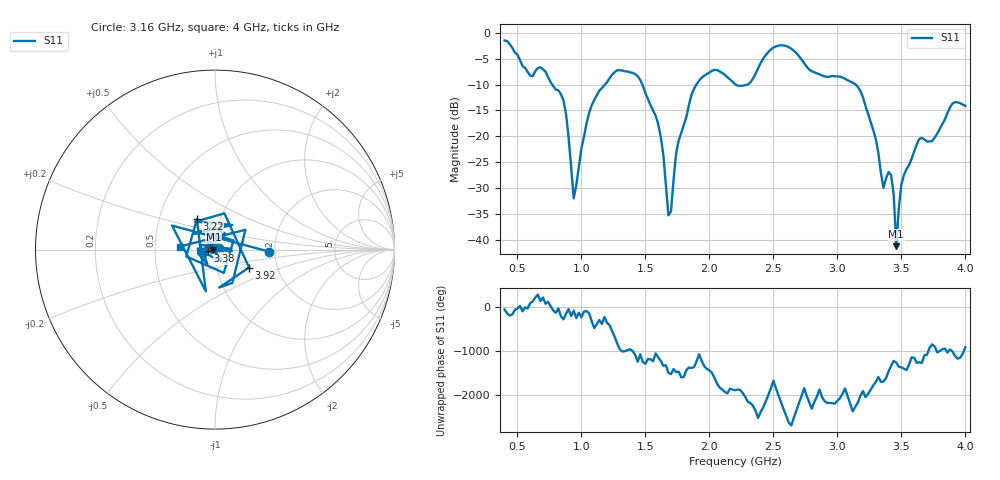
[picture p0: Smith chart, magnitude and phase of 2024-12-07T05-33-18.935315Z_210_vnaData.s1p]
!Created with skrf (http://scikit-rf.org).
# Hz S RI R 50.0
!freq ReS11 ImS11
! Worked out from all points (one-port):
!   181 points, 400 MHz to 4 GHz, reference 50 ohm
!   lowest |S11| = -41.3 dB at 3.46 GHz (marker M1), VSWR 1.02, Z = 49.1 - j0.0751 ohm
!   |S11| at or under -10 dB: 772.3 MHz to 1.183 GHz (410.9 MHz wide, 42 % of centre); 1.476 GHz to 1.898 GHz (421.9 MHz wide, 25 % of centre); 3.143 GHz to end of sweep (the widest 3 of 4)
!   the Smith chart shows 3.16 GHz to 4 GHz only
!   S11 on the Smith chart (normalised r, x): 3.16 GHz: 1.86, -0.04; 3.22 GHz: 0.77, +0.27; 3.38 GHz: 0.93, -0.02; 3.92 GHz: 1.43, -0.30; 4 GHz: 0.67, +0.02
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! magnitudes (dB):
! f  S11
! 400 MHz  -1.4
! 860 MHz  -13.1
! 940 MHz  -32.0
! 1.08 GHz  -14.0
! 1.3 GHz  -7.2
! 1.44 GHz  -8.4
! 1.58 GHz  -16.0
! 1.64 GHz  -23.5
! 1.68 GHz  -35.3
! 1.7 GHz  -34.5
! 1.76 GHz  -20.8
! 1.94 GHz  -8.7
! 2.2 GHz  -9.9
! 2.5 GHz  -2.8
! 2.66 GHz  -3.4
! 3.1 GHz  -9.4
! 3.16 GHz  -10.4
! 3.22 GHz  -14.1
! 3.3 GHz  -20.5
! 3.36 GHz  -30.0
! 3.38 GHz  -28.2
! 3.42 GHz  -27.5
! 3.44 GHz  -31.3
! 3.46 GHz  -41.3
! 3.5 GHz  -29.3
! 3.56 GHz  -25.6
! 3.92 GHz  -13.4
! 4 GHz  -14.1
